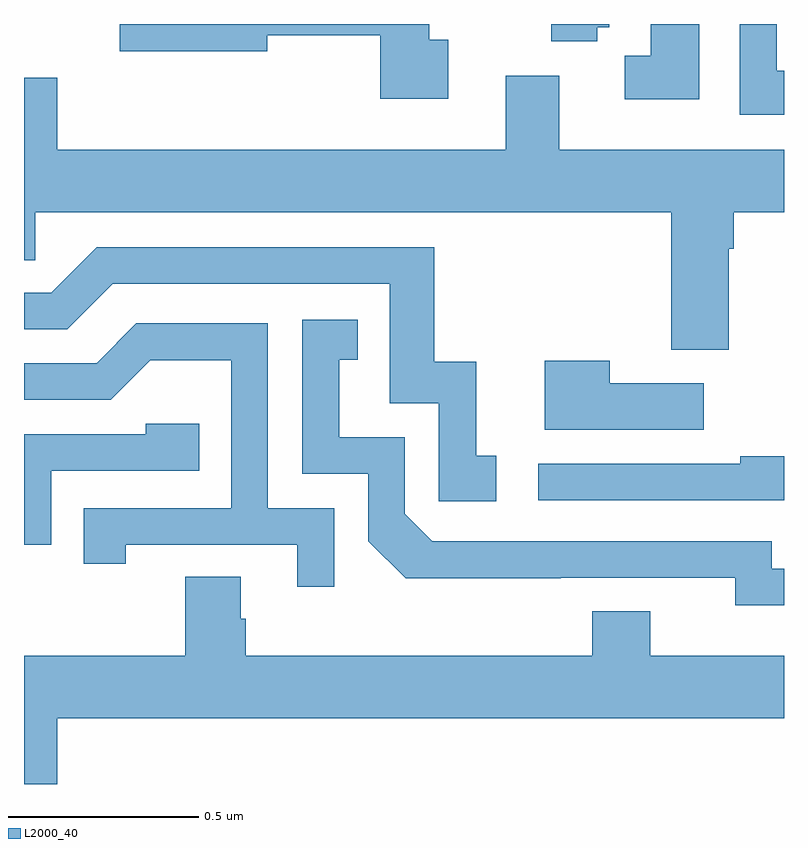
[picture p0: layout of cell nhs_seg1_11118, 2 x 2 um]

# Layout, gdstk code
import gdstk
lib = gdstk.Library(unit=1e-6, precision=1e-09)
def P(c, l, *ps):  # polygons
    for p in ps: c.add(gdstk.Polygon(p, *l))
L2000_40 = (2000, 40)

nhs_seg1_11118 = lib.new_cell('nhs_seg1_11118')
P(nhs_seg1_11118, L2000_40, [(251,580.076),(250.981,580.076),(250.981,580.199),(250.884,580.199),(250.884,579.96),(251,579.96)],
  [(250.117,580.158),(250.066,580.158),(250.066,580.199),(249.252,580.199),(249.252,580.127),(249.64,580.127),(249.64,580.17),(249.937,580.17),(249.937,580.002),(250.117,580.002)],
  [(250.777,580.199),(250.649,580.199),(250.649,580.116),(250.581,580.116),(250.581,580.001),(250.777,580.001)],
  [(250.508,580.19),(250.54,580.19),(250.54,580.199),(250.388,580.199),(250.388,580.153),(250.508,580.153)],
  [(250.855,579.608),(250.868,579.608),(250.868,579.704),(251,579.704),(251,579.868),(250.408,579.868),(250.408,580.063),(250.268,580.063),(250.268,579.868),(249.088,579.868),(249.088,580.057),(249,580.057),(249,579.577),(249.03,579.577),(249.03,579.704),(250.703,579.704),(250.703,579.342),(250.855,579.342)],
  [(250.243,579.063),(250.19,579.063),(250.19,579.31),(250.079,579.31),(250.079,579.612),(249.192,579.612),(249.072,579.492),(249,579.492),(249,579.396),(249.114,579.396),(249.234,579.516),(249.963,579.516),(249.963,579.201),(250.092,579.201),(250.092,578.943),(250.243,578.943)],
  [(251,578.766),(250.968,578.766),(250.968,578.838),(250.074,578.838),(250.002,578.91),(250.002,579.111),(249.829,579.111),(249.829,579.315),(249.878,579.315),(249.878,579.421),(249.732,579.421),(249.732,579.015),(249.906,579.015),(249.906,578.838),(250.004,578.741),(250.412,578.741),(250.412,578.742),(250.872,578.742),(250.872,578.669),(251,578.669)],
  [(249.816,578.925),(249.642,578.925),(249.642,579.411),(249.296,579.411),(249.191,579.306),(249,579.306),(249,579.21),(249.228,579.21),(249.332,579.314),(249.546,579.314),(249.546,578.925),(249.157,578.925),(249.157,578.778),(249.268,578.778),(249.268,578.829),(249.719,578.829),(249.719,578.718),(249.816,578.718)],
  [(250.789,579.253),(250.541,579.253),(250.541,579.313),(250.37,579.313),(250.37,579.131),(250.789,579.131)],
  [(249.072,579.024),(249.461,579.024),(249.461,579.147),(249.321,579.147),(249.321,579.12),(249,579.12),(249,578.829),(249.072,578.829)],
  [(251,579.062),(250.885,579.062),(250.885,579.042),(250.353,579.042),(250.353,578.946),(251,578.946)],
  [(249.088,578.372),(251,578.372),(251,578.536),(250.648,578.536),(250.648,578.653),(250.496,578.653),(250.496,578.536),(249.584,578.536),(249.584,578.634),(249.571,578.634),(249.571,578.744),(249.424,578.744),(249.424,578.536),(249,578.536),(249,578.199),(249.088,578.199)])

lib.write_gds('nhs_seg1_11118.gds')
